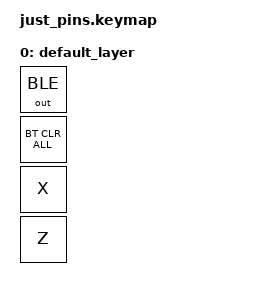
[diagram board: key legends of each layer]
/*
 * Copyright (c) 2022 The ZMK Contributors
 *
 * SPDX-License-Identifier: MIT
 */

#include <behaviors.dtsi>
#include <dt-bindings/zmk/keys.h>
#include <dt-bindings/zmk/bt.h>
#include <dt-bindings/zmk/outputs.h>

/ {
    keymap {
        compatible = "zmk,keymap";

        default_layer {
            bindings = <
                &out OUT_BLE
                &bt BT_CLR_ALL
                &kp X
                &kp Z
            >;
        };
    };
};
